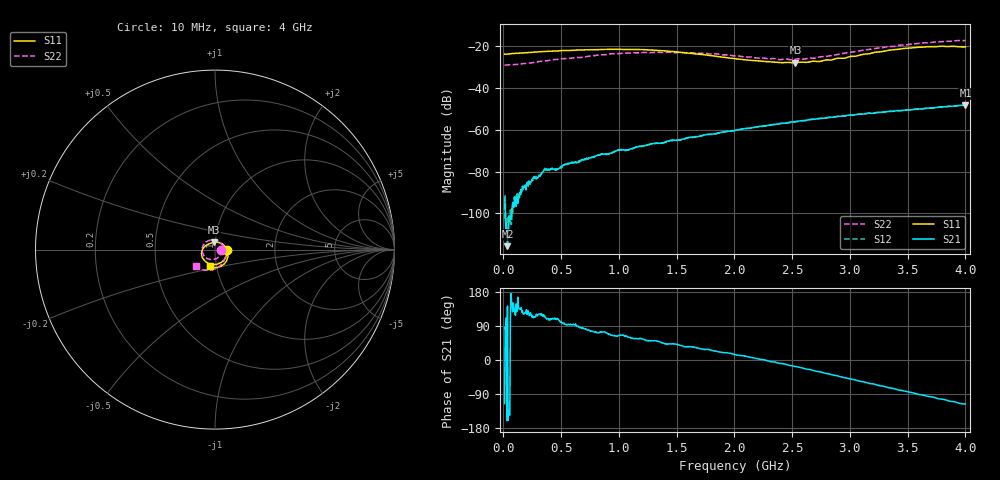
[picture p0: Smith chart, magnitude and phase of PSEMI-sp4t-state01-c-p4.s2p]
! 5/5/2016 4:49:25 PM
! C:\ANRITSUVNA\DATA\PSEMI-SP4T-STATE01-C-P4.S2P
! CHANNEL.1
! TR.MEASUREMENT
! CORRECTED.DATA
# GHZ S RI R 50.0
! FREQ.GHZ  S11RE  S11IM  S21RE  S21IM  S12RE  S12IM  S22RE  S22IM
!; PortSelection: Port_12
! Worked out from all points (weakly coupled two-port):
!   801 points, 10 MHz to 4 GHz, reference 50 ohm
!   highest |S21| = -48.12 dB at 4 GHz (marker M1); lowest = -115.7 dB at 34.94 MHz (marker M2)
!   lowest |S11| = -27.9 dB at 2.529 GHz (marker M3), VSWR 1.08, Z = 49.4 + j3.98 ohm
!   |S11| at or under -10 dB: start of sweep to end of sweep
!   |S22| runs from -28.9 to -17.1 dB; largest |S21 - S12| = 8.7e-05
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0.01  0.0653 -0.00273  -8.9e-06 -1.9e-05  7.1e-06 -2.6e-06  0.0361 -0.00239
0.0349375  0.0656 -0.00392  -1.3e-06 1e-06  -8.3e-06 1.5e-06  0.036 -0.00361
0.319225  0.0577 -0.0474  -4.13e-05 6.93e-05  -4.1e-05 6.87e-05  0.0256 -0.0356
0.3691  0.0531 -0.0545  -3.8e-05 0.000104  -4.05e-05 0.000107  0.0216 -0.0397
0.458875  0.042 -0.0653  -3.22e-05 0.000107  -4.02e-05 0.000111  0.0143 -0.0466
0.5336875  0.0319 -0.0732  -1e-05 0.000152  -1.34e-05 0.00015  0.00715 -0.0508
0.678325  0.00732 -0.082  2.2e-05 0.000188  2.03e-05 0.000192  -0.0113 -0.0536
0.8429125  -0.0219 -0.0814  7.54e-05 0.000245  7.41e-05 0.000255  -0.032 -0.0543
0.9127375  -0.0335 -0.0784  9.6e-05 0.00025  0.000101 0.000242  -0.041 -0.0514
1.0075  -0.047 -0.0711  0.000141 0.000302  0.00014 0.000301  -0.0499 -0.0459
1.077325  -0.056 -0.0637  0.000165 0.00029  0.000164 0.000284  -0.056 -0.0409
1.1671  -0.0656 -0.0529  0.000225 0.000327  0.00023 0.000328  -0.0622 -0.0322
1.341662  -0.074 -0.0301  0.000319 0.00036  0.000309 0.00036  -0.0713 -0.0135
1.740663  -0.0615 0.0132  0.000669 0.00036  0.000664 0.000344  -0.0598 0.0344
2.005  -0.0432 0.0268  0.000946 0.000242  0.000931 0.000238  -0.0299 0.0513
2.394025  -0.0168 0.0375  0.00141 -0.000215  0.00139 -0.000221  0.0232 0.0422
2.528688  -0.00455 0.0402  0.00149 -0.000458  0.0015 -0.000467  0.0404 0.0286
2.673325  0.0117 0.0423  0.00159 -0.000802  0.00159 -0.000805  0.0512 0.0104
2.952625  0.0454 0.026  0.00148 -0.00156  0.00149 -0.00157  0.0578 -0.0377
3.336663  0.0726 -0.0366  0.000795 -0.00266  0.000799 -0.00266  0.0224 -0.0966
3.685787  0.0347 -0.0928  -0.00037 -0.00331  -0.000409 -0.00329  -0.0443 -0.1149
4  -0.0263 -0.0938  -0.00173 -0.00352  -0.00179 -0.00347  -0.106 -0.0901
